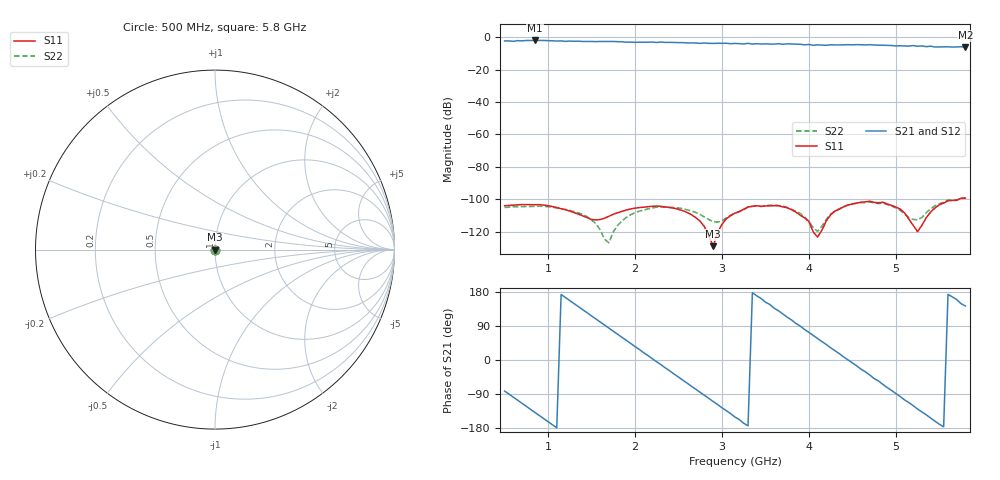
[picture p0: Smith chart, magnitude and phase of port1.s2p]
# GHZ S RI R 50
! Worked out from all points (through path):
!   107 points, 500 MHz to 5.8 GHz, reference 50 ohm
!   highest |S21| = -1.93 dB at 850 MHz (marker M1); lowest = -6.2 dB at 5.8 GHz (marker M2)
!   group delay of S21, straight-line fit = 448 ps
!   lowest |S11| = -129.0 dB at 2.9 GHz (marker M3), VSWR 1.00, Z = 50 - j9.72e-06 ohm
!   |S11| at or under -10 dB: start of sweep to end of sweep
!   |S22| runs from -126.9 to -99.3 dB; largest |S21 - S12| = 0.01
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0.5  5.3e-06 -3.4e-06  0.1073 -0.765  0.1076 -0.7645  5.43e-06 -1.17e-06
0.65  3.26e-06 -5.89e-06  -0.2191 -0.7606  -0.2183 -0.7605  5.07e-06 -2.94e-06
0.85  -8.18e-07 -6.75e-06  -0.5997 -0.5309  -0.5988 -0.5312  3.33e-06 -5.03e-06
1.15  -3.98e-06 -3.21e-06  -0.772 0.0979  -0.772 0.0982  -5.34e-07 -5.06e-06
1.4  -2.86e-06 -1.1e-06  -0.5028 0.5497  -0.5032 0.5507  -2.31e-06 -2.46e-06
1.6  -1.69e-06 -1.65e-06  -0.1321 0.7348  -0.134 0.7344  -9.67e-07 -5.8e-07
1.75  -2.18e-06 -2.66e-06  0.1815 0.7228  0.1824 0.7237  7.57e-07 -6.26e-07
2.05  -5.01e-06 -2.38e-06  0.6247 0.3302  0.6244 0.3291  1.4e-06 -4.06e-06
2.3  -5.94e-06 9.08e-07  0.6987 -0.1575  0.6989 -0.1544  -2.12e-06 -5.39e-06
2.65  -1.69e-06 2.87e-06  0.2369 -0.6313  0.2408 -0.6303  -4.2e-06 -1.19e-06
2.9  -3.42e-07 -9.72e-08  -0.2189 -0.6114  -0.2177 -0.6121  -1.92e-06 -6.75e-07
3.15  -3.06e-06 -2.12e-06  -0.5639 -0.3189  -0.5636 -0.3233  -2.24e-06 -3e-06
3.4  -6.31e-06 4.07e-07  -0.6275 0.1183  -0.6308 0.1216  -5.7e-06 -2.62e-06
3.65  -4.09e-06 4.79e-06  -0.4084 0.4881  -0.4043 0.4935  -6.04e-06 2.11e-06
3.85  -7.49e-07 3.94e-06  -0.0708 0.6112  -0.0741 0.6137  -2.83e-06 3.14e-06
4.05  -2.57e-07 9.39e-07  0.2412 0.5138  0.2422 0.5131  -9.98e-07 8.56e-07
4.45  -6.31e-06 2e-06  0.5935 0.00409  0.5927 0.0103  -6.59e-06 -7.74e-07
4.7  -4.98e-06 7.1e-06  0.4585 -0.3772  0.4583 -0.379  -7.29e-06 3.91e-06
4.95  1.6e-06 6.28e-06  0.0952 -0.5515  0.0957 -0.5518  -2.65e-06 5.62e-06
5.2  1.56e-06 6.36e-10  -0.2827 -0.4792  -0.2853 -0.4764  -1.6e-06 1.76e-06
5.4  -3.92e-06 -8.99e-07  -0.4759 -0.2412  -0.4762 -0.2437  -5.06e-06 6.57e-07
5.8  -4.61e-06 9.86e-06  -0.3868 0.2982  -0.3806 0.303  -5.38e-06 9.33e-06
